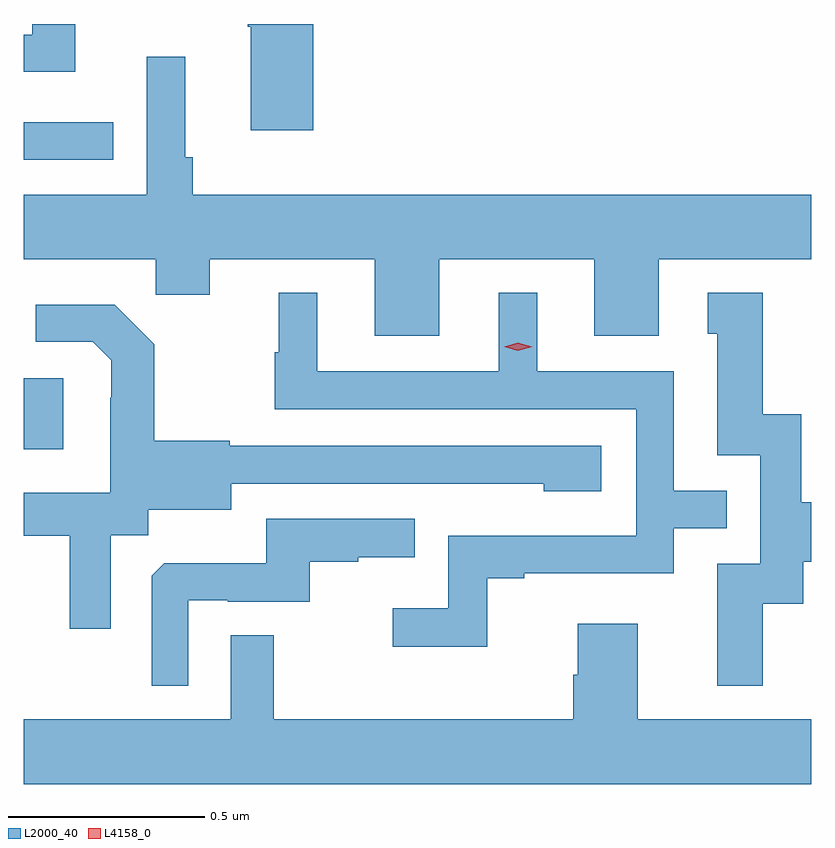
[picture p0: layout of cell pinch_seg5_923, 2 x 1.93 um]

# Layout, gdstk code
import gdstk
lib = gdstk.Library(unit=1e-6, precision=1e-09)
def R(c, l, rs):  # rectangles x0, y0, x1, y1
    for r in rs: c.add(gdstk.rectangle(r[:2], r[2:], *l))
def P(c, l, *ps):  # polygons
    for p in ps: c.add(gdstk.Polygon(p, *l))
L2000_40 = (2000, 40)
L4158_0 = (4158, 0)

pinch_seg5_923 = lib.new_cell('pinch_seg5_923')
R(pinch_seg5_923, L2000_40, [(627.188,897.57,627.289,897.75), (627.188,898.305,627.416,898.401)])
P(pinch_seg5_923, L2000_40, [(627.923,898.65),(627.757,898.65),(627.757,898.643),(627.764,898.643),(627.764,898.38),(627.923,898.38)],
  [(627.319,898.65),(627.21,898.65),(627.21,898.623),(627.188,898.623),(627.188,898.529),(627.319,898.529)],
  [(628.243,898.052),(628.637,898.052),(628.637,897.858),(628.801,897.858),(628.801,898.052),(629.188,898.052),(629.188,898.216),(627.617,898.216),(627.617,898.312),(627.598,898.312),(627.598,898.567),(627.501,898.567),(627.501,898.216),(627.188,898.216),(627.188,898.052),(627.523,898.052),(627.523,897.962),(627.661,897.962),(627.661,898.052),(628.079,898.052),(628.079,897.858),(628.243,897.858)],
  [(629.065,897.178),(629.167,897.178),(629.167,897.284),(629.188,897.284),(629.188,897.436),(629.163,897.436),(629.163,897.659),(629.065,897.659),(629.065,897.967),(628.925,897.967),(628.925,897.864),(628.949,897.864),(628.949,897.555),(629.058,897.555),(629.058,897.279),(628.949,897.279),(628.949,896.97),(629.065,896.97)],
  [(628.365,897.243),(628.459,897.243),(628.459,897.255),(628.839,897.255),(628.839,897.369),(628.973,897.369),(628.973,897.465),(628.839,897.465),(628.839,897.768),(628.492,897.768),(628.492,897.967),(628.394,897.967),(628.394,897.768),(627.934,897.768),(627.934,897.967),(627.836,897.967),(627.836,897.816),(627.825,897.816),(627.825,897.672),(628.743,897.672),(628.743,897.351),(628.266,897.351),(628.266,897.166),(628.125,897.166),(628.125,897.068),(628.365,897.068)],
  [(627.409,897.352),(627.504,897.352),(627.504,897.416),(627.715,897.416),(627.715,897.483),(628.273,897.483),(628.273,897.482),(628.509,897.482),(628.509,897.464),(628.654,897.464),(628.654,897.579),(627.711,897.579),(627.711,897.592),(627.519,897.592),(627.519,897.837),(627.419,897.937),(627.219,897.937),(627.219,897.843),(627.363,897.843),(627.41,897.796),(627.41,897.701),(627.408,897.701),(627.408,897.46),(627.188,897.46),(627.188,897.35),(627.305,897.35),(627.305,897.114),(627.409,897.114)],
  [(627.606,897.186),(627.706,897.186),(627.706,897.183),(627.914,897.183),(627.914,897.285),(628.037,897.285),(628.037,897.296),(628.181,897.296),(628.181,897.393),(627.804,897.393),(627.804,897.281),(627.545,897.281),(627.513,897.249),(627.513,896.969),(627.606,896.969)],
  [(629.188,896.884),(628.747,896.884),(628.747,897.127),(628.595,897.127),(628.595,896.997),(628.583,896.997),(628.583,896.884),(627.823,896.884),(627.823,897.098),(627.714,897.098),(627.714,896.884),(627.188,896.884),(627.188,896.72),(629.188,896.72)])
P(pinch_seg5_923, L4158_0, [(628.443,897.82),(628.408,897.83),(628.407,897.83),(628.408,897.83),(628.443,897.84),(628.479,897.83),(628.479,897.83),(628.479,897.83)])

lib.write_gds('pinch_seg5_923.gds')
